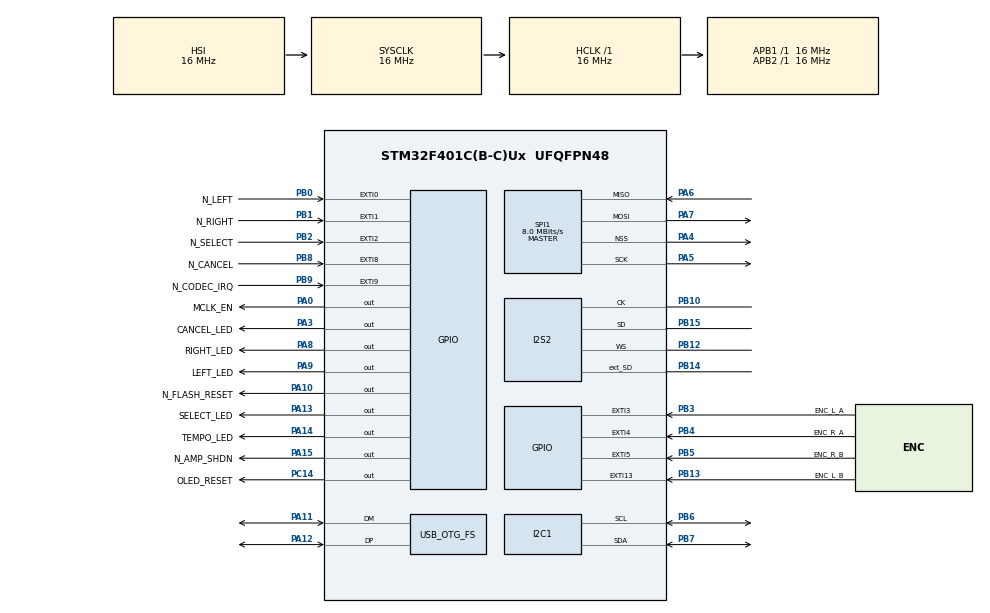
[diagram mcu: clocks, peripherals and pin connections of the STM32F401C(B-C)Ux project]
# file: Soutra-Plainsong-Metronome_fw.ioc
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FREERTOS.INCLUDE_vTaskCleanUpResources=1
FREERTOS.Queues01=inputEventQueue,50,8,1,Dynamic,NULL,NULL;defaultScreenQueue,50,8,1,Dynamic,NULL,NULL;screenQueue,50,8,1,Dynamic,NULL,NULL
FREERTOS.Tasks01=Input_Task,34,128,Start_Input_Task,Default,NULL,Dynamic,NULL,NULL;UI_Control_Task,32,512,Start_UI_Control_Task,Default,NULL,Dynamic,NULL,NULL;Metronome_Task,24,256,Start_Metronome_Engine_Task,Default,NULL,Dynamic,NULL,NULL;Audio_Out_Task,24,512,Start_Audio_Out_Task,Default,NULL,Dynamic,NULL,NULL;Screen,33,512,Screen_Task,Default,NULL,Dynamic,NULL,NULL
FREERTOS.configUSE_NEWLIB_REENTRANT=1
I2C1.I2C_Mode=I2C_Fast
I2S2.AudioFreq=I2S_AUDIOFREQ_48K
I2S2.ErrorAudioFreq=-0.26 %
I2S2.FullDuplexMode=I2S_FULLDUPLEXMODE_ENABLE
I2S2.Instance=SPI$Index
I2S2.RealAudioFreq=47.872 KHz
I2S2.VirtualMode=I2S_MODE_MASTER
Mcu.Family=STM32F4
Mcu.Name=STM32F401C(B-C)Ux
Mcu.Package=UFQFPN48
NVIC.EXTI0_IRQn=true\:5\:0\:false\:false\:true\:true\:true\:true\:true
NVIC.EXTI1_IRQn=true\:5\:0\:false\:false\:true\:true\:true\:true\:true
NVIC.EXTI2_IRQn=true\:5\:0\:false\:false\:true\:true\:true\:true\:true
NVIC.EXTI3_IRQn=true\:5\:0\:false\:false\:true\:true\:true\:true\:true
NVIC.EXTI4_IRQn=true\:5\:0\:false\:false\:true\:true\:true\:true\:true
NVIC.EXTI9_5_IRQn=true\:5\:0\:false\:false\:true\:true\:true\:true\:true
NVIC.OTG_FS_IRQn=true\:5\:0\:false\:false\:true\:true\:false\:true\:true
NVIC.PriorityGroup=NVIC_PRIORITYGROUP_4
NVIC.TIM2_IRQn=true\:15\:0\:false\:false\:true\:false\:false\:true\:true
NVIC.TimeBase=TIM2_IRQn
NVIC.TimeBaseIP=TIM2
PA0-WKUP.GPIO_Label=MCLK_EN
PA0-WKUP.Signal=GPIO_Output
PA10.GPIO_Label=N_FLASH_RESET
PA10.PinState=GPIO_PIN_SET
PA10.Signal=GPIO_Output
PA11.Mode=Device_Only
PA11.Signal=USB_OTG_FS_DM
PA12.Mode=Device_Only
PA12.Signal=USB_OTG_FS_DP
PA13.GPIO_Label=SELECT_LED
PA13.Signal=GPIO_Output
PA14.GPIO_Label=TEMPO_LED
PA14.Signal=GPIO_Output
PA15.GPIO_Label=N_AMP_SHDN
PA15.PinState=GPIO_PIN_SET
PA15.Signal=GPIO_Output
PA3.GPIO_Label=CANCEL_LED
PA3.Signal=GPIO_Output
PA4.Mode=NSS_Signal_Hard_Output
PA4.Signal=SPI1_NSS
PA5.Mode=Full_Duplex_Master
PA5.Signal=SPI1_SCK
PA6.Mode=Full_Duplex_Master
PA6.Signal=SPI1_MISO
PA7.Mode=Full_Duplex_Master
PA7.Signal=SPI1_MOSI
PA8.GPIO_Label=RIGHT_LED
PA8.Signal=GPIO_Output
PA9.GPIO_Label=LEFT_LED
PA9.Signal=GPIO_Output
PB0.GPIO_Label=N_LEFT
PB0.GPIO_ModeDefaultEXTI=GPIO_MODE_IT_FALLING
PB0.Signal=GPXTI0
PB1.GPIO_Label=N_RIGHT
PB1.GPIO_ModeDefaultEXTI=GPIO_MODE_IT_FALLING
PB1.Signal=GPXTI1
PB10.Mode=Full_Duplex_Master
PB10.Signal=I2S2_CK
PB12.Mode=Full_Duplex_Master
PB12.Signal=I2S2_WS
PB13.GPIO_Label=ENC_L_B
PB13.GPIO_ModeDefaultEXTI=GPIO_MODE_IT_RISING_FALLING
PB13.Signal=GPXTI13
PB14.Mode=Full_Duplex_Master
PB14.Signal=I2S2_ext_SD
PB15.Mode=Full_Duplex_Master
PB15.Signal=I2S2_SD
PB2.GPIO_Label=N_SELECT
PB2.GPIO_ModeDefaultEXTI=GPIO_MODE_IT_FALLING
PB2.Signal=GPXTI2
PB3.GPIO_Label=ENC_L_A
PB3.GPIO_ModeDefaultEXTI=GPIO_MODE_IT_RISING_FALLING
PB3.Signal=GPXTI3
PB4.GPIO_Label=ENC_R_A
PB4.GPIO_ModeDefaultEXTI=GPIO_MODE_IT_RISING_FALLING
PB4.Signal=GPXTI4
PB5.GPIO_Label=ENC_R_B
PB5.GPIO_ModeDefaultEXTI=GPIO_MODE_IT_RISING_FALLING
PB5.Signal=GPXTI5
PB6.Mode=I2C
PB6.Signal=I2C1_SCL
PB7.Mode=I2C
PB7.Signal=I2C1_SDA
PB8.GPIO_Label=N_CANCEL
PB8.GPIO_ModeDefaultEXTI=GPIO_MODE_IT_FALLING
PB8.Signal=GPXTI8
PB9.GPIO_Label=N_CODEC_IRQ
PB9.GPIO_ModeDefaultEXTI=GPIO_MODE_IT_FALLING
PB9.Signal=GPXTI9
PC14-OSC32_IN.GPIO_Label=OLED_RESET
PC14-OSC32_IN.Signal=GPIO_Output
PH0\ -\ OSC_IN.Mode=HSE-External-Oscillator
PH0\ -\ OSC_IN.Signal=RCC_OSC_IN
PH1\ -\ OSC_OUT.Mode=HSE-External-Oscillator
PH1\ -\ OSC_OUT.Signal=RCC_OSC_OUT
ProjectManager.HeapSize=0x200
ProjectManager.StackSize=0x400
ProjectManager.TargetToolchain=STM32CubeIDE
RCC.48MHZClocksFreq_Value=48000000
RCC.AHBFreq_Value=16000000
RCC.APB1Freq_Value=16000000
RCC.APB2Freq_Value=16000000
RCC.CortexFreq_Value=16000000
RCC.HSE_VALUE=24000000
RCC.HSI_VALUE=16000000
RCC.PLLQ=6
RCC.SYSCLKFreq_VALUE=16000000
RCC.VCOOutputFreq_Value=288000000
SPI1.CalculateBaudRate=8.0 MBits/s
SPI1.Direction=SPI_DIRECTION_2LINES
SPI1.Mode=SPI_MODE_MASTER
SPI1.VirtualNSS=VM_NSSHARD
SPI1.VirtualType=VM_MASTER
USB_DEVICE.CLASS_NAME_FS=CDC
USB_DEVICE.VirtualMode=Cdc
USB_DEVICE.VirtualModeFS=Cdc_FS
USB_OTG_FS.VirtualMode=Device_Only
VP_FREERTOS_VS_CMSIS_V2.Mode=CMSIS_V2
VP_SYS_VS_tim2.Mode=TIM2
VP_USB_DEVICE_VS_USB_DEVICE_CDC_FS.Mode=CDC_FS
board=custom

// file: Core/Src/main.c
/* USER CODE BEGIN Header */
/**
  ******************************************************************************
  * @file           : main.c
  * @brief          : Main program body
  ******************************************************************************
  * @attention
  *
  * Copyright (c) 2025 STMicroelectronics.
  * All rights reserved.
  *
  * This software is licensed under terms that can be found in the LICENSE file
  * in the root directory of this software component.
  * If no LICENSE file comes with this software, it is provided AS-IS.
  *
  ******************************************************************************
  */
/* USER CODE END Header */
#include "main.h"
#include "cmsis_os.h"
#include "usb_device.h"

/* USER CODE BEGIN Includes */
#include "input_events.h"
#include "usbd_cdc_if.h"
#include "cmsis_os.h"      // STM32Cube abstraction over FreeRTOS
#include "queue.h"         // Required for queue functions like xQueueReceive
#include "oled.h"
/* USER CODE END Includes */

I2C_HandleTypeDef hi2c1;

I2S_HandleTypeDef hi2s2;

SPI_HandleTypeDef hspi1;

/* Definitions for Input_Task */
osThreadId_t Input_TaskHandle;
const osThreadAttr_t Input_Task_attributes = {
  .name = "Input_Task",
  .stack_size = 128 * 4,
  .priority = (osPriority_t) osPriorityAboveNormal2,
};
/* Definitions for UI_Control_Task */
osThreadId_t UI_Control_TaskHandle;
const osThreadAttr_t UI_Control_Task_attributes = {
  .name = "UI_Control_Task",
  .stack_size = 512 * 4,
  .priority = (osPriority_t) osPriorityAboveNormal,
};
/* Definitions for Metronome_Task */
osThreadId_t Metronome_TaskHandle;
const osThreadAttr_t Metronome_Task_attributes = {
  .name = "Metronome_Task",
  .stack_size = 256 * 4,
  .priority = (osPriority_t) osPriorityNormal,
};
/* Definitions for Audio_Out_Task */
osThreadId_t Audio_Out_TaskHandle;
const osThreadAttr_t Audio_Out_Task_attributes = {
  .name = "Audio_Out_Task",
  .stack_size = 512 * 4,
  .priority = (osPriority_t) osPriorityNormal,
};
/* Definitions for Screen */
osThreadId_t ScreenHandle;
const osThreadAttr_t Screen_attributes = {
  .name = "Screen",
  .stack_size = 512 * 4,
  .priority = (osPriority_t) osPriorityAboveNormal1,
};
/* Definitions for inputEventQueue */
osMessageQueueId_t inputEventQueueHandle;
const osMessageQueueAttr_t inputEventQueue_attributes = {
  .name = "inputEventQueue"
};
/* Definitions for defaultScreenQueue */
osMessageQueueId_t defaultScreenQueueHandle;
const osMessageQueueAttr_t defaultScreenQueue_attributes = {
  .name = "defaultScreenQueue"
};
/* Definitions for screenQueue */
osMessageQueueId_t screenQueueHandle;
const osMessageQueueAttr_t screenQueue_attributes = {
  .name = "screenQueue"
};
/* USER CODE BEGIN PV */
int bpm = 120;                 // Default BPM
int volume = 50;                // Default volume, scale e.g. 50–100
int metronome_running = 0;
char msg[64];					//char array for debug messages

typedef struct {
    uint8_t bpm;
    uint8_t volume;
    int is_playing;
} DefaultScreenData_t;

typedef enum {
    SCREEN_SETTINGS,
    SCREEN_DEFAULT,
    SCREEN_SAMPLES
} Screen_t;

/* USER CODE END PV */

void SystemClock_Config(void);
static void MX_GPIO_Init(void);
static void MX_I2C1_Init(void);
static void MX_I2S2_Init(void);
static void MX_SPI1_Init(void);
void Start_Input_Task(void *argument);
void Start_UI_Control_Task(void *argument);
void Start_Metronome_Engine_Task(void *argument);
void Start_Audio_Out_Task(void *argument);
void Screen_Task(void *argument);

int main(void)
{

  /* MCU Configuration--------------------------------------------------------*/

  /* Reset of all peripherals, Initializes the Flash interface and the Systick. */
  HAL_Init();

  /* Configure the system clock */
  SystemClock_Config();

  /* Initialize all configured peripherals */
  MX_GPIO_Init();
  MX_I2C1_Init();
  MX_I2S2_Init();
  MX_SPI1_Init();
  /* USER CODE BEGIN 2 */
  OLED_Init();
  OLED_DisplayStartupLogo();
  OLED_Clear();
  OLED_UpdateScreen();
  /* USER CODE END 2 */

  /* Init scheduler */
  osKernelInitialize();

  /* Create the queue(s) */
  /* creation of inputEventQueue */
  inputEventQueueHandle = osMessageQueueNew (50, 8, &inputEventQueue_attributes);

  /* creation of defaultScreenQueue */
  defaultScreenQueueHandle = osMessageQueueNew (50, 8, &defaultScreenQueue_attributes);

  /* creation of screenQueue */
  screenQueueHandle = osMessageQueueNew (50, 8, &screenQueue_attributes);

  /* Create the thread(s) */
  /* creation of Input_Task */
  Input_TaskHandle = osThreadNew(Start_Input_Task, NULL, &Input_Task_attributes);

  /* creation of UI_Control_Task */
  UI_Control_TaskHandle = osThreadNew(Start_UI_Control_Task, NULL, &UI_Control_Task_attributes);

  /* creation of Metronome_Task */
  Metronome_TaskHandle = osThreadNew(Start_Metronome_Engine_Task, NULL, &Metronome_Task_attributes);

  /* creation of Audio_Out_Task */
  Audio_Out_TaskHandle = osThreadNew(Start_Audio_Out_Task, NULL, &Audio_Out_Task_attributes);

  /* creation of Screen */
  ScreenHandle = osThreadNew(Screen_Task, NULL, &Screen_attributes);

  /* Start scheduler */
  osKernelStart();

  /* We should never get here as control is now taken by the scheduler */
  /* Infinite loop */
  while (1)
  {

  }
}

void SystemClock_Config(void)
{
  RCC_OscInitTypeDef RCC_OscInitStruct = {0};
  RCC_ClkInitTypeDef RCC_ClkInitStruct = {0};

  /** Configure the main internal regulator output voltage
  */
  __HAL_RCC_PWR_CLK_ENABLE();
  __HAL_PWR_VOLTAGESCALING_CONFIG(PWR_REGULATOR_VOLTAGE_SCALE2);

  /** Initializes the RCC Oscillators according to the specified parameters
  * in the RCC_OscInitTypeDef structure.
  */
  RCC_OscInitStruct.OscillatorType = RCC_OSCILLATORTYPE_HSI|RCC_OSCILLATORTYPE_HSE;
  RCC_OscInitStruct.HSEState = RCC_HSE_ON;
  RCC_OscInitStruct.HSIState = RCC_HSI_ON;
  RCC_OscInitStruct.HSICalibrationValue = RCC_HSICALIBRATION_DEFAULT;
  RCC_OscInitStruct.PLL.PLLState = RCC_PLL_ON;
  RCC_OscInitStruct.PLL.PLLSource = RCC_PLLSOURCE_HSE;
  RCC_OscInitStruct.PLL.PLLM = 16;
  RCC_OscInitStruct.PLL.PLLN = 192;
  RCC_OscInitStruct.PLL.PLLP = RCC_PLLP_DIV2;
  RCC_OscInitStruct.PLL.PLLQ = 6;
  if (HAL_RCC_OscConfig(&RCC_OscInitStruct) != HAL_OK)
  {
    Error_Handler();
  }

  /** Initializes the CPU, AHB and APB buses clocks
  */
  RCC_ClkInitStruct.ClockType = RCC_CLOCKTYPE_HCLK|RCC_CLOCKTYPE_SYSCLK
                              |RCC_CLOCKTYPE_PCLK1|RCC_CLOCKTYPE_PCLK2;
  RCC_ClkInitStruct.SYSCLKSource = RCC_SYSCLKSOURCE_HSI;
  RCC_ClkInitStruct.AHBCLKDivider = RCC_SYSCLK_DIV1;
  RCC_ClkInitStruct.APB1CLKDivider = RCC_HCLK_DIV1;
  RCC_ClkInitStruct.APB2CLKDivider = RCC_HCLK_DIV1;

  if (HAL_RCC_ClockConfig(&RCC_ClkInitStruct, FLASH_LATENCY_0) != HAL_OK)
  {
    Error_Handler();
  }
}

static void MX_I2C1_Init(void)
{

  hi2c1.Instance = I2C1;
  hi2c1.Init.ClockSpeed = 400000;
  hi2c1.Init.DutyCycle = I2C_DUTYCYCLE_2;
  hi2c1.Init.OwnAddress1 = 0;
  hi2c1.Init.AddressingMode = I2C_ADDRESSINGMODE_7BIT;
  hi2c1.Init.DualAddressMode = I2C_DUALADDRESS_DISABLE;
  hi2c1.Init.OwnAddress2 = 0;
  hi2c1.Init.GeneralCallMode = I2C_GENERALCALL_DISABLE;
  hi2c1.Init.NoStretchMode = I2C_NOSTRETCH_DISABLE;
  if (HAL_I2C_Init(&hi2c1) != HAL_OK)
  {
    Error_Handler();
  }

}

static void MX_I2S2_Init(void)
{

  hi2s2.Instance = SPI2;
  hi2s2.Init.Mode = I2S_MODE_MASTER_TX;
  hi2s2.Init.Standard = I2S_STANDARD_PHILIPS;
  hi2s2.Init.DataFormat = I2S_DATAFORMAT_16B;
  hi2s2.Init.MCLKOutput = I2S_MCLKOUTPUT_DISABLE;
  hi2s2.Init.AudioFreq = I2S_AUDIOFREQ_48K;
  hi2s2.Init.CPOL = I2S_CPOL_LOW;
  hi2s2.Init.ClockSource = I2S_CLOCK_PLL;
  hi2s2.Init.FullDuplexMode = I2S_FULLDUPLEXMODE_ENABLE;
  if (HAL_I2S_Init(&hi2s2) != HAL_OK)
  {
    Error_Handler();
  }

}

static void MX_SPI1_Init(void)
{

  /* SPI1 parameter configuration*/
  hspi1.Instance = SPI1;
  hspi1.Init.Mode = SPI_MODE_MASTER;
  hspi1.Init.Direction = SPI_DIRECTION_2LINES;
  hspi1.Init.DataSize = SPI_DATASIZE_8BIT;
  hspi1.Init.CLKPolarity = SPI_POLARITY_LOW;
  hspi1.Init.CLKPhase = SPI_PHASE_1EDGE;
  hspi1.Init.NSS = SPI_NSS_HARD_OUTPUT;
  hspi1.Init.BaudRatePrescaler = SPI_BAUDRATEPRESCALER_2;
  hspi1.Init.FirstBit = SPI_FIRSTBIT_MSB;
  hspi1.Init.TIMode = SPI_TIMODE_DISABLE;
  hspi1.Init.CRCCalculation = SPI_CRCCALCULATION_DISABLE;
  hspi1.Init.CRCPolynomial = 10;
  if (HAL_SPI_Init(&hspi1) != HAL_OK)
  {
    Error_Handler();
  }

}

static void MX_GPIO_Init(void)
{
  GPIO_InitTypeDef GPIO_InitStruct = {0};

  /* GPIO Ports Clock Enable */
  __HAL_RCC_GPIOC_CLK_ENABLE();
  __HAL_RCC_GPIOH_CLK_ENABLE();
  __HAL_RCC_GPIOA_CLK_ENABLE();
  __HAL_RCC_GPIOB_CLK_ENABLE();

  /*Configure GPIO pin Output Level */
  HAL_GPIO_WritePin(OLED_RESET_GPIO_Port, OLED_RESET_Pin, GPIO_PIN_RESET);

  /*Configure GPIO pin Output Level */
  HAL_GPIO_WritePin(GPIOA, MCLK_EN_Pin|CANCEL_LED_Pin|RIGHT_LED_Pin|LEFT_LED_Pin
                          |SELECT_LED_Pin|TEMPO_LED_Pin, GPIO_PIN_RESET);

  /*Configure GPIO pin Output Level */
  HAL_GPIO_WritePin(GPIOA, N_FLASH_RESET_Pin|N_AMP_SHDN_Pin, GPIO_PIN_SET);

  /*Configure GPIO pin : OLED_RESET_Pin */
  GPIO_InitStruct.Pin = OLED_RESET_Pin;
  GPIO_InitStruct.Mode = GPIO_MODE_OUTPUT_PP;
  GPIO_InitStruct.Pull = GPIO_NOPULL;
  GPIO_InitStruct.Speed = GPIO_SPEED_FREQ_LOW;
  HAL_GPIO_Init(OLED_RESET_GPIO_Port, &GPIO_InitStruct);

  /*Configure GPIO pins : MCLK_EN_Pin CANCEL_LED_Pin RIGHT_LED_Pin LEFT_LED_Pin
                           N_FLASH_RESET_Pin SELECT_LED_Pin TEMPO_LED_Pin N_AMP_SHDN_Pin */
  GPIO_InitStruct.Pin = MCLK_EN_Pin|CANCEL_LED_Pin|RIGHT_LED_Pin|LEFT_LED_Pin
                          |N_FLASH_RESET_Pin|SELECT_LED_Pin|TEMPO_LED_Pin|N_AMP_SHDN_Pin;
  GPIO_InitStruct.Mode = GPIO_MODE_OUTPUT_PP;
  GPIO_InitStruct.Pull = GPIO_NOPULL;
  GPIO_InitStruct.Speed = GPIO_SPEED_FREQ_LOW;
  HAL_GPIO_Init(GPIOA, &GPIO_InitStruct);

  /*Configure GPIO pins : N_LEFT_Pin N_RIGHT_Pin N_SELECT_Pin N_CANCEL_Pin
                           N_CODEC_IRQ_Pin */
  GPIO_InitStruct.Pin = N_LEFT_Pin|N_RIGHT_Pin|N_SELECT_Pin|N_CANCEL_Pin
                          |N_CODEC_IRQ_Pin;
  GPIO_InitStruct.Mode = GPIO_MODE_IT_FALLING;
  GPIO_InitStruct.Pull = GPIO_NOPULL;
  HAL_GPIO_Init(GPIOB, &GPIO_InitStruct);

  /*Configure GPIO pins : ENC_L_B_Pin ENC_L_A_Pin ENC_R_A_Pin ENC_R_B_Pin */
  GPIO_InitStruct.Pin = ENC_L_B_Pin|ENC_L_A_Pin|ENC_R_A_Pin|ENC_R_B_Pin;
  GPIO_InitStruct.Mode = GPIO_MODE_IT_RISING_FALLING;
  GPIO_InitStruct.Pull = GPIO_NOPULL;
  HAL_GPIO_Init(GPIOB, &GPIO_InitStruct);

  /* EXTI interrupt init*/
  HAL_NVIC_SetPriority(EXTI0_IRQn, 5, 0);
  HAL_NVIC_EnableIRQ(EXTI0_IRQn);

  HAL_NVIC_SetPriority(EXTI1_IRQn, 5, 0);
  HAL_NVIC_EnableIRQ(EXTI1_IRQn);

  HAL_NVIC_SetPriority(EXTI2_IRQn, 5, 0);
  HAL_NVIC_EnableIRQ(EXTI2_IRQn);

  HAL_NVIC_SetPriority(EXTI3_IRQn, 5, 0);
  HAL_NVIC_EnableIRQ(EXTI3_IRQn);

  HAL_NVIC_SetPriority(EXTI4_IRQn, 5, 0);
  HAL_NVIC_EnableIRQ(EXTI4_IRQn);

  HAL_NVIC_SetPriority(EXTI9_5_IRQn, 5, 0);
  HAL_NVIC_EnableIRQ(EXTI9_5_IRQn);

}

/* USER CODE BEGIN 4 */

//External int. callback
void HAL_GPIO_EXTI_Callback(uint16_t GPIO_Pin)
{
    switch (GPIO_Pin)
    {
        case N_SELECT_Pin:
            button_select_flag = 1;
            break;

        case N_CANCEL_Pin:
            button_stop_flag = 1;
            break;

        case N_LEFT_Pin:
            button_left_flag = 1;
            break;

        case N_RIGHT_Pin:
            button_right_flag = 1;
            break;

        case ENC_L_A_Pin:
        case ENC_L_B_Pin:
            // Read both pins to form current 2-bit state for left encoder
            currentState = (HAL_GPIO_ReadPin(ENC_L_A_GPIO_Port, ENC_L_A_Pin) << 1) |
                           HAL_GPIO_ReadPin(ENC_L_B_GPIO_Port, ENC_L_B_Pin);
            combined = (lastEncLeftState << 2) | currentState;

            switch (combined) {
                case 0b0001:
                case 0b0111:
                case 0b1110:
                case 0b1000:
                    encoder_left_delta = -1;
                    break;
                case 0b0010:
                case 0b0100:
                case 0b1101:
                case 0b1011:
                    encoder_left_delta = +1;
                    break;
                default:
                    // Invalid transition, could be noise, ignore
                    break;
            }
            lastEncLeftState = currentState;
            break;

        case ENC_R_A_Pin:
        case ENC_R_B_Pin:
            // Same for right encoder
            currentState = (HAL_GPIO_ReadPin(ENC_R_A_GPIO_Port, ENC_R_A_Pin) << 1) |
                           HAL_GPIO_ReadPin(ENC_R_B_GPIO_Port, ENC_R_B_Pin);
            combined = (lastEncRightState << 2) | currentState;

            switch (combined) {
                case 0b0001:
                case 0b0111:
                case 0b1110:
                case 0b1000:
                    encoder_right_delta = -1;
                    break;
                case 0b0010:
                case 0b0100:
                case 0b1101:
                case 0b1011:
                    encoder_right_delta = +1;
                    break;
                default:
                    // Noise, ignore
                    break;
            }
            lastEncRightState = currentState;
            break;

        default:
            break;
    }
}
/* USER CODE END 4 */

void Start_Input_Task(void *argument)
{
  /* init code for USB_DEVICE */
  MX_USB_DEVICE_Init();
  /* USER CODE BEGIN 5 */
  InputEvent_t evt;

  //Debounce timestamps (FreeRTOS ticks)
  uint32_t lastSelectPress = 0;
  uint32_t lastStopPress   = 0;
  uint32_t lastLeftPress   = 0;
  uint32_t lastRightPress  = 0;
  uint32_t lastEncLeft	   = 0;
  uint32_t lastEncRight	   = 0;

  const uint32_t debounceDelay = 150; //in ms
  const uint32_t encDebounceDelay = 10;
  /* Infinite loop */
  for(;;)
  {
	  //char msg[] = "Hello from Input_Task!\r\n";
	  //CDC_Transmit_FS((uint8_t*)msg, strlen(msg));
      uint32_t now = osKernelGetTickCount();

      if (button_select_flag) {
    	  button_select_flag = 0;
    	  if(now - lastSelectPress > debounceDelay){
    		  lastSelectPress = now;
    		  evt.type = EVENT_BUTTON_SELECT;
    		  evt.value = 0;
    		  osMessageQueuePut(inputEventQueueHandle, &evt, 0, 0);
    	  }
      }

      if (button_stop_flag) {
    	  button_stop_flag = 0;
    	  if(now - lastStopPress > debounceDelay){
			  lastStopPress = now;
			  evt.type = EVENT_BUTTON_STOP;
			  evt.value = 0;
			  osMessageQueuePut(inputEventQueueHandle, &evt, 0, 0);
    	  }
      }

      if (button_left_flag) {
    	  button_left_flag = 0;
    	  if(now - lastLeftPress > debounceDelay){
			  lastLeftPress = now;
			  evt.type = EVENT_BUTTON_LEFT;
			  evt.value = 0;
			  osMessageQueuePut(inputEventQueueHandle, &evt, 0, 0);
    	  }
      }

      if (button_right_flag) {
    	  button_right_flag = 0;
    	  if(now - lastRightPress > debounceDelay){
			  lastRightPress = now;
			  evt.type = EVENT_BUTTON_RIGHT;
			  evt.value = 0;
			  osMessageQueuePut(inputEventQueueHandle, &evt, 0, 0);
    	  }
      }

      if (encoder_left_delta != 0 && (now - lastEncLeft > encDebounceDelay)) {
          evt.type = EVENT_ENCODER_LEFT;
          evt.value = encoder_left_delta;
          encoder_left_delta = 0;
          lastEncLeft = now;
          osMessageQueuePut(inputEventQueueHandle, &evt, 0, 0);
      }

      if (encoder_right_delta != 0 && (now - lastEncRight > encDebounceDelay)) {
          evt.type = EVENT_ENCODER_RIGHT;
          evt.value = encoder_right_delta;
          encoder_right_delta = 0;
          lastEncRight = now;
          osMessageQueuePut(inputEventQueueHandle, &evt, 0, 0);
      }

      osDelay(1); // Run task every 10ms
  }
  /* USER CODE END 5 */
}

void Start_UI_Control_Task(void *argument)
{
  /* USER CODE BEGIN Start_UI_Control_Task */
	InputEvent_t evt;
	static int firstDraw = 1;
	Screen_t screen = SCREEN_DEFAULT;
    DefaultScreenData_t screenData = {
	    .bpm = bpm,
	    .volume = volume,
	    .is_playing = metronome_running
    };
	if ((SCREEN_DEFAULT) && (firstDraw == 1)) {
	    OLED_ShowDefaultScreen(bpm, volume, metronome_running);
	    firstDraw = 0;
	}
  for(;;)
  {
	  if (osMessageQueueGet(inputEventQueueHandle, &evt, NULL, osWaitForever) == osOK){
	      switch (evt.type)
	      	  {
				  case EVENT_ENCODER_LEFT:
					  bpm += evt.value;
					  if (bpm < 30) bpm = 30;
					  if (bpm > 300) bpm = 300;
					  sprintf(msg, "BPM: %d\r\n", bpm);
					  break;

				  case EVENT_ENCODER_RIGHT:
					  volume += evt.value;
					  if (volume < 0) volume = 0;
					  if (volume > 100) volume = 100;
					  sprintf(msg, "Volume: %d\r\n", volume);
					  break;

				  case EVENT_BUTTON_LEFT:
					  screen--;
					  if((screen > 0) && (screen != 1) && (screen != 2)){
						  screen = 0;
					  }
					  sprintf(msg, "Screen: %d\r\n", screen);
					  break;

				  case EVENT_BUTTON_RIGHT:
					  screen++;
					  if(screen >= 2){
						  screen = 2;
					  }
					  sprintf(msg, "Screen: %d\r\n", screen);
					  break;

				  case EVENT_BUTTON_SELECT:
					  sprintf(msg, "Starting metronome...\r\n");
					  if (!metronome_running)
					  {
						  //Metronome_Start(bpm, volume);
						  metronome_running = 1;
					  }
					  break;

				  case EVENT_BUTTON_STOP:
					  sprintf(msg, "Stopping metronome...\r\n");
					  if (metronome_running)
					  {
						  //Metronome_Stop();
						  metronome_running = 0;
					  }
					  break;

				  default:
					  break;
	              }
	          }
		  screenData.bpm = bpm;
		  screenData.volume = volume;
		  screenData.is_playing = metronome_running;

		  osMessageQueuePut(screenQueueHandle, &screen, 0, 0);
		  osMessageQueuePut(defaultScreenQueueHandle, &screenData, 0, 0);

	  	  CDC_Transmit_FS((uint8_t*)msg, strlen(msg));

	      osDelay(1); // Optional: prevent flooding
	  }
  /* USER CODE END Start_UI_Control_Task */
}

void Start_Metronome_Engine_Task(void *argument)
{
  /* USER CODE BEGIN Start_Metronome_Engine_Task */
  /* Infinite loop */
  for(;;)
  {
	//char msg[] = "Hello from Metronome_Engine_Task!\r\n";
	//CDC_Transmit_FS((uint8_t*)msg, strlen(msg));
    osDelay(10);
  }
  /* USER CODE END Start_Metronome_Engine_Task */
}

void Start_Audio_Out_Task(void *argument)
{
  /* USER CODE BEGIN Start_Audio_Out_Task */
  /* Infinite loop */
  for(;;)
  {
	//char msg[] = "Hello from Audio_Output_Task!\r\n";
	//CDC_Transmit_FS((uint8_t*)msg, strlen(msg));
    osDelay(10);
  }
  /* USER CODE END Start_Audio_Out_Task */
}

void Screen_Task(void *argument)
{
  /* USER CODE BEGIN Screen_Task */
  /* Infinite loop */
  Screen_t currentScreen = SCREEN_DEFAULT;  // Start with default screen
  Screen_t newScreen;
  DefaultScreenData_t defaultData;

  for(;;)
  {
	  if (osMessageQueueGet(screenQueueHandle, &newScreen, NULL, osWaitForever) == osOK) {
		  currentScreen = newScreen;

		  // Flush the queue
		  if (currentScreen == SCREEN_DEFAULT) {
			   osMessageQueueReset(defaultScreenQueueHandle);
		  }
	  }
	  switch (currentScreen) {
		  case SCREEN_DEFAULT:
			  if(osMessageQueueGet(defaultScreenQueueHandle, &defaultData, NULL, osWaitForever) == osOK){
				  OLED_ShowDefaultScreen(defaultData.bpm,defaultData.volume,defaultData.is_playing);
			  }
			  break;
		  case SCREEN_SETTINGS:
			  OLED_ShowSettingsScreen();
			  break;
		  case SCREEN_SAMPLES:
			  OLED_ShowSamplesScreen();
			  break;
	  }
    osDelay(1);
  }
  /* USER CODE END Screen_Task */
}

void HAL_TIM_PeriodElapsedCallback(TIM_HandleTypeDef *htim)
{
  if (htim->Instance == TIM2) {
    HAL_IncTick();
  }
}

void Error_Handler(void)
{
  __disable_irq();
  while (1)
  {
  }
}
